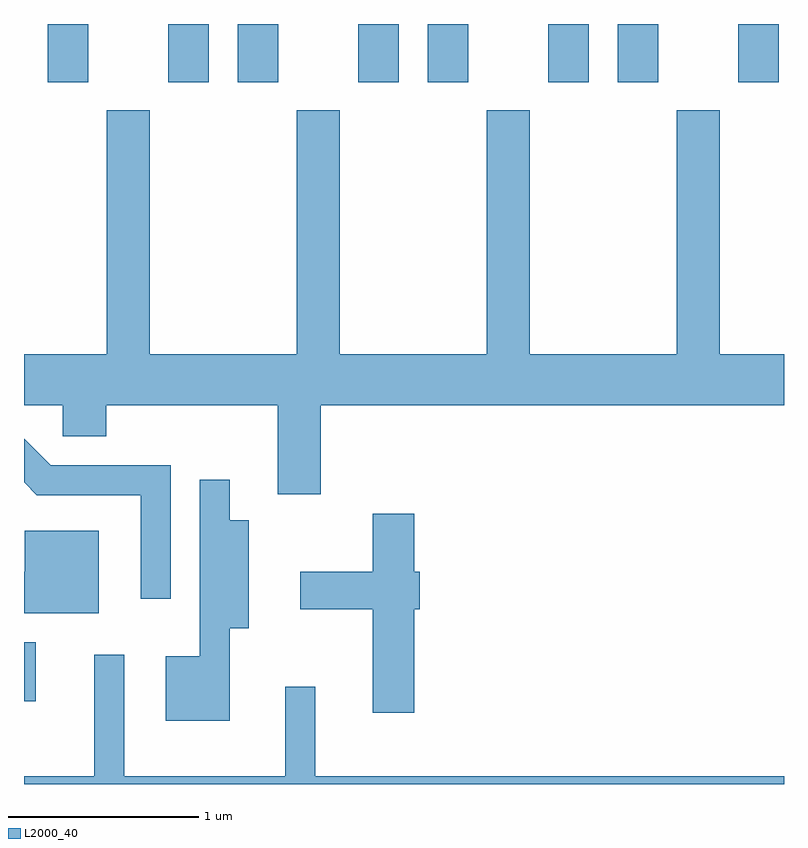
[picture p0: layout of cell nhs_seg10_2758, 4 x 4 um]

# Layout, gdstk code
import gdstk
lib = gdstk.Library(unit=1e-6, precision=1e-09)
def R(c, l, rs):  # rectangles x0, y0, x1, y1
    for r in rs: c.add(gdstk.rectangle(r[:2], r[2:], *l))
def P(c, l, *ps):  # polygons
    for p in ps: c.add(gdstk.Polygon(p, *l))
L2000_40 = (2000, 40)

nhs_seg10_2758 = lib.new_cell('nhs_seg10_2758')
R(nhs_seg10_2758, L2000_40, [(265.611,2178.958,265.674,2179.269), (265.736,2182.216,265.949,2182.522), (266.371,2182.216,266.584,2182.522), (266.736,2182.216,266.949,2182.522), (267.371,2182.216,267.584,2182.522), (267.736,2182.216,267.949,2182.522), (268.371,2182.216,268.584,2182.522), (268.736,2182.216,268.949,2182.522), (269.371,2182.216,269.584,2182.522)])
P(nhs_seg10_2758, L2000_40, [(267.174,2180.516),(269.611,2180.516),(269.611,2180.784),(269.274,2180.784),(269.274,2182.069),(269.046,2182.069),(269.046,2180.784),(268.274,2180.784),(268.274,2182.069),(268.046,2182.069),(268.046,2180.784),(267.274,2180.784),(267.274,2182.069),(267.046,2182.069),(267.046,2180.784),(266.274,2180.784),(266.274,2182.069),(266.046,2182.069),(266.046,2180.784),(265.611,2180.784),(265.611,2180.516),(265.816,2180.516),(265.816,2180.351),(266.044,2180.351),(266.044,2180.516),(266.946,2180.516),(266.946,2180.046),(267.174,2180.046)],
  [(266.384,2180.199),(265.752,2180.199),(265.611,2180.34),(265.611,2180.109),(265.679,2180.041),(266.226,2180.041),(266.226,2179.498),(266.384,2179.498)],
  [(266.694,2179.341),(266.794,2179.341),(266.794,2179.909),(266.694,2179.909),(266.694,2180.123),(266.536,2180.123),(266.536,2179.194),(266.356,2179.194),(266.356,2178.856),(266.694,2178.856)],
  [(267.664,2179.441),(267.694,2179.441),(267.694,2179.639),(267.664,2179.639),(267.664,2179.944),(267.446,2179.944),(267.446,2179.639),(267.066,2179.639),(267.066,2179.441),(267.446,2179.441),(267.446,2178.896),(267.664,2178.896)],
  [(266.004,2179.854),(265.616,2179.854),(265.616,2179.639),(265.611,2179.639),(265.611,2179.421),(266.004,2179.421)],
  [(269.611,2178.564),(267.144,2178.564),(267.144,2179.033),(266.986,2179.033),(266.986,2178.564),(266.139,2178.564),(266.139,2179.203),(265.981,2179.203),(265.981,2178.564),(265.611,2178.564),(265.611,2178.522),(269.611,2178.522)])

lib.write_gds('nhs_seg10_2758.gds')
